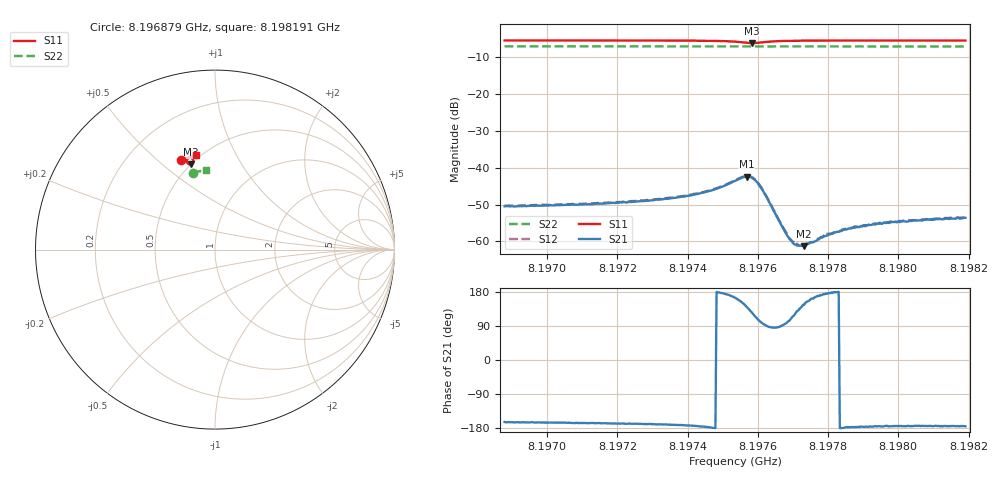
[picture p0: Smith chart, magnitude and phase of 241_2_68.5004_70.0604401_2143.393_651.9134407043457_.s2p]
#  HZ  S  RI  R  50.00
! Rohde & Schwarz Vector Network Analyzer
! Rohde-Schwarz,ZNB20-2Port,1311601062101988,3.16
! Created: UTC 3/20/2024, 5:14:34 PM
! freq[Hz]  re:S11  im:S11  re:S21  im:S21  re:S12  im:S12  re:S22  im:S22
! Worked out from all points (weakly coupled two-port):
!   401 points, 8.196879 GHz to 8.198191 GHz, reference 50 ohm
!   highest |S21| = -42.37 dB at 8.197568 GHz (marker M1); lowest = -61.3 dB at 8.197732 GHz (marker M2)
!   lowest |S11| = -6.1 dB at 8.197584 GHz (marker M3), VSWR 2.95, Z = 25 + j31.5 ohm
!   |S11| at or under -10 dB: nowhere
!   |S22| runs from -7.1 to -7.0 dB; largest |S21 - S12| = 0.00035
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8.1968788e9  -0.1896 0.5014  -0.00288 -0.000852  -0.00296 -0.000726  -0.1249 0.4285
8.1970986e9  -0.1737 0.5067  -0.00309 -0.000762  -0.00317 -0.000645  -0.1128 0.4315
8.1973184e9  -0.1557 0.5114  -0.00363 -0.000669  -0.00375 -0.000505  -0.1007 0.4343
8.1973939e9  -0.1479 0.5123  -0.00407 -0.00054  -0.00415 -0.00042  -0.0964 0.4349
8.1974398e9  -0.1421 0.5123  -0.00454 -0.000355  -0.00462 -0.000179  -0.0938 0.4355
8.197489e9  -0.1337 0.5104  -0.00531 0.000151  -0.00542 0.00035  -0.091 0.4357
8.197535e9  -0.1235 0.5015  -0.00639 0.00177  -0.00649 0.00208  -0.0881 0.436
8.1975678e9  -0.1238 0.4836  -0.00593 0.00478  -0.00586 0.00509  -0.0865 0.4358
8.1975842e9  -0.1338 0.4757  -0.00404 0.00602  -0.00391 0.00634  -0.086 0.4359
8.1975973e9  -0.1445 0.4757  -0.00221 0.00604  -0.00198 0.00624  -0.0856 0.4359
8.1976137e9  -0.1538 0.4824  -0.000524 0.00494  -0.000336 0.00503  -0.0849 0.4363
8.197676e9  -0.1528 0.5053  -0.000112 0.00139  -6.23e-05 0.00144  -0.0814 0.4375
8.1976924e9  -0.1508 0.5079  -0.000305 0.00101  -0.000266 0.00104  -0.0804 0.4378
8.1977088e9  -0.1484 0.5101  -0.000526 0.000731  -0.000482 0.000765  -0.0795 0.4376
8.1977154e9  -0.1476 0.5108  -0.000582 0.000665  -0.000536 0.000702  -0.079 0.4378
8.1977318e9  -0.1456 0.5121  -0.00071 0.000491  -0.000727 0.000503  -0.0782 0.4381
8.1977548e9  -0.1428 0.5137  -0.000931 0.000294  -0.000927 0.000356  -0.0768 0.4383
8.1977941e9  -0.1386 0.5157  -0.00118 8.99e-05  -0.00118 0.000153  -0.0747 0.4386
8.1978499e9  -0.1332 0.5176  -0.00145 -6.34e-05  -0.00149 -8.33e-06  -0.0716 0.439
8.1979221e9  -0.1269 0.5196  -0.00167 -0.00013  -0.0017 -7.27e-05  -0.0674 0.4395
8.1979746e9  -0.1226 0.5207  -0.00177 -0.000154  -0.00182 -9.21e-05  -0.0644 0.44
8.1981911e9  -0.1061 0.5245  -0.00209 -0.000187  -0.00213 -0.000118  -0.0521 0.4411
